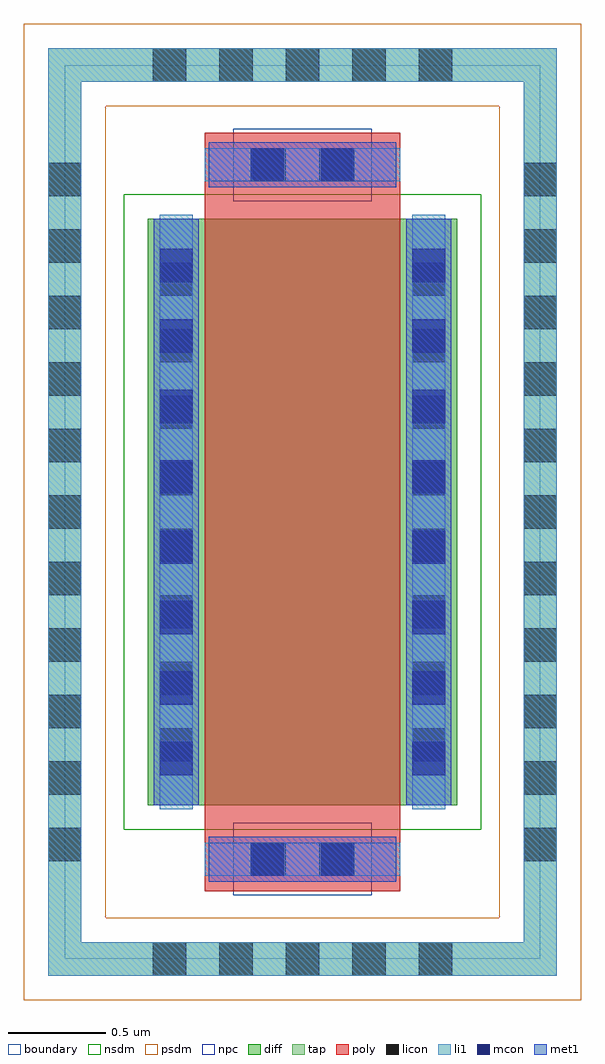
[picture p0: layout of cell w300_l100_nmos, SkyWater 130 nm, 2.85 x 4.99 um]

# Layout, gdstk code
import gdstk
lib = gdstk.Library(unit=1e-6, precision=1e-09)
def R(c, l, rs):  # rectangles x0, y0, x1, y1
    for r in rs: c.add(gdstk.rectangle(r[:2], r[2:], *l))
def A(c, l, x, y, w, h, nx, ny, dx, dy):  # array of equal rectangles
    R(c, l, [(x+i*dx, y+j*dy, x+i*dx+w, y+j*dy+h) for i in range(nx) for j in range(ny)])
diff = (65, 20)
tap = (65, 44)
poly = (66, 20)
licon = (66, 44)
li1 = (67, 20)
mcon = (67, 44)
met1 = (68, 20)
nsdm = (93, 44)
psdm = (94, 20)
npc = (95, 20)
boundary = (235, 4)

sky130_fd_pr__nfet_01v8 = lib.new_cell('sky130_fd_pr__nfet_01v8')

w300_l100_nmos = lib.new_cell('w300_l100_nmos')
R(w300_l100_nmos, diff, [(-0.79,-1.5,0.79,1.5)])
R(w300_l100_nmos, tap, [(-1.3,-2.37,1.3,-2.2), (-1.3,-2.2,-1.13,2.2), (1.13,-2.2,1.3,2.2), (-1.3,2.2,1.3,2.37)])
R(w300_l100_nmos, poly, [(-0.5,-1.94,0.5,1.94)])
A(w300_l100_nmos, licon, -0.765, -2.37, 0.17, 0.17, 5, 2, 0.34, 4.57)
A(w300_l100_nmos, licon, -1.3, -1.785, 0.17, 0.17, 1, 11, 0, 0.34)
A(w300_l100_nmos, licon, 1.13, -1.785, 0.17, 0.17, 1, 11, 0, 0.34)
A(w300_l100_nmos, licon, -0.73, -1.275, 0.17, 0.17, 1, 8, 0, 0.34)
A(w300_l100_nmos, licon, 0.56, -1.275, 0.17, 0.17, 1, 8, 0, 0.34)
R(w300_l100_nmos, licon, [(-0.255,-1.86,-0.085,-1.69), (0.085,-1.86,0.255,-1.69), (-0.255,1.69,-0.085,1.86), (0.085,1.69,0.255,1.86)])
R(w300_l100_nmos, li1, [(-1.3,-2.37,1.3,-2.2), (-1.3,-2.2,-1.13,2.2), (1.13,-2.2,1.3,2.2), (-0.5,-1.86,0.5,-1.69), (-0.73,-1.52,-0.56,1.52), (0.56,-1.52,0.73,1.52), (-0.5,1.69,0.5,1.86), (-1.3,2.2,1.3,2.37)])
A(w300_l100_nmos, mcon, -0.73, -1.345, 0.17, 0.17, 1, 8, 0, 0.36)
A(w300_l100_nmos, mcon, 0.56, -1.345, 0.17, 0.17, 1, 8, 0, 0.36)
R(w300_l100_nmos, mcon, [(-0.265,-1.86,-0.095,-1.69), (0.095,-1.86,0.265,-1.69), (-0.265,1.69,-0.095,1.86), (0.095,1.69,0.265,1.86)])
R(w300_l100_nmos, met1, [(-0.48,-1.89,0.48,-1.66), (-0.76,-1.5,-0.53,1.5), (0.53,-1.5,0.76,1.5), (-0.48,1.66,0.48,1.89)])
R(w300_l100_nmos, nsdm, [(-0.915,-1.625,0.915,1.625)])
R(w300_l100_nmos, psdm, [(-1.425,-2.495,1.425,-2.075), (-1.425,-2.075,-1.005,2.075), (1.005,-2.075,1.425,2.075), (-1.425,2.075,1.425,2.495)])
R(w300_l100_nmos, npc, [(-0.355,-1.96,0.355,-1.59), (-0.355,1.59,0.355,1.96)])
R(w300_l100_nmos, boundary, [(-1.215,-2.285,1.215,2.285)])
w300_l100_nmos.add(gdstk.Reference(sky130_fd_pr__nfet_01v8, (0,0)))

lib.write_gds('w300_l100_nmos.gds')
